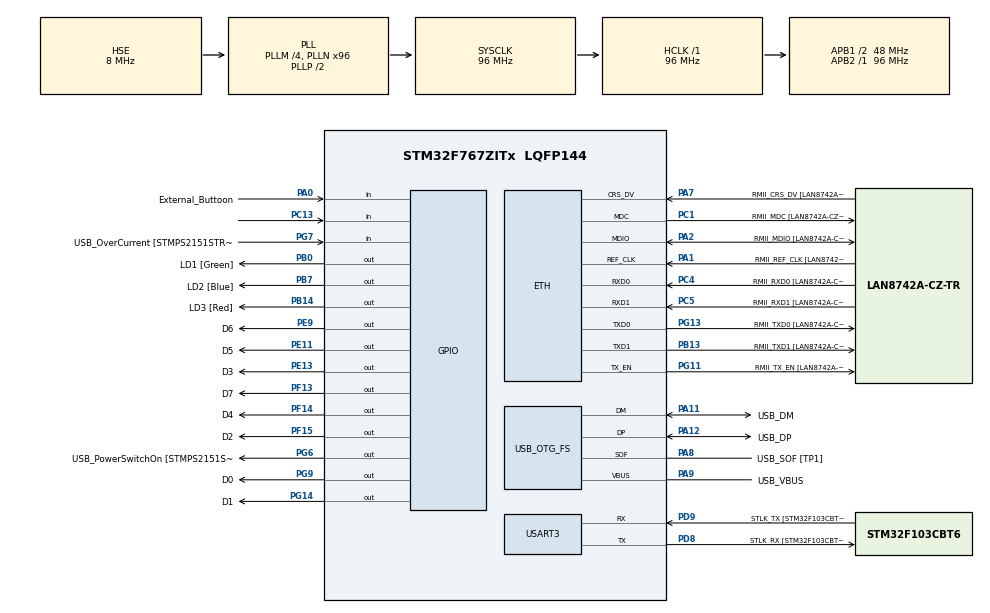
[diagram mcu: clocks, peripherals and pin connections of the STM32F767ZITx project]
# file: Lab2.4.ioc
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ETH.MediaInterface=HAL_ETH_RMII_MODE
ETH.PHY_Name=LAN8742A_PHY_ADDRESS
ETH.PHY_Value=0
ETH.PhyAddress=0
Mcu.Family=STM32F7
Mcu.Name=STM32F767ZITx
Mcu.Package=LQFP144
NVIC.PriorityGroup=NVIC_PRIORITYGROUP_4
PA0/WKUP.GPIO_Label=External_Buttoon
PA0/WKUP.GPIO_PuPd=GPIO_NOPULL
PA0/WKUP.Signal=GPIO_Input
PA1.GPIO_Label=RMII_REF_CLK [LAN8742A-CZ-TR_REFCLK0]
PA1.Mode=RMII
PA1.Signal=ETH_REF_CLK
PA10.GPIO_Label=USB_ID
PA10.Signal=USB_OTG_FS_ID
PA11.GPIO_Label=USB_DM
PA11.Mode=Device_Only
PA11.Signal=USB_OTG_FS_DM
PA12.GPIO_Label=USB_DP
PA12.Mode=Device_Only
PA12.Signal=USB_OTG_FS_DP
PA13.GPIO_Label=TMS
PA13.Mode=Serial_Wire
PA13.Signal=SYS_JTMS-SWDIO
PA14.GPIO_Label=TCK
PA14.Mode=Serial_Wire
PA14.Signal=SYS_JTCK-SWCLK
PA2.GPIO_Label=RMII_MDIO [LAN8742A-CZ-TR_MDIO]
PA2.Mode=RMII
PA2.Signal=ETH_MDIO
PA7.GPIO_Label=RMII_CRS_DV [LAN8742A-CZ-TR_CRS_DV]
PA7.Mode=RMII
PA7.Signal=ETH_CRS_DV
PA8.GPIO_Label=USB_SOF [TP1]
PA8.Mode=Activate_SOF_FS
PA8.Signal=USB_OTG_FS_SOF
PA9.GPIO_Label=USB_VBUS
PA9.Mode=Activate_VBUS
PA9.Signal=USB_OTG_FS_VBUS
PB0.GPIO_Label=LD1 [Green]
PB0.Signal=GPIO_Output
PB13.GPIO_Label=RMII_TXD1 [LAN8742A-CZ-TR_TXD1]
PB13.Mode=RMII
PB13.Signal=ETH_TXD1
PB14.GPIO_Label=LD3 [Red]
PB14.Signal=GPIO_Output
PB3.GPIO_Label=SWO
PB3.Signal=SYS_JTDO-SWO
PB7.GPIO_Label=LD2 [Blue]
PB7.Signal=GPIO_Output
PC1.GPIO_Label=RMII_MDC [LAN8742A-CZ-TR_MDC]
PC1.Mode=RMII
PC1.Signal=ETH_MDC
PC13.Signal=GPIO_Input
PC14/OSC32_IN.Mode=LSE-External-Oscillator
PC14/OSC32_IN.Signal=RCC_OSC32_IN
PC15/OSC32_OUT.Mode=LSE-External-Oscillator
PC15/OSC32_OUT.Signal=RCC_OSC32_OUT
PC4.GPIO_Label=RMII_RXD0 [LAN8742A-CZ-TR_RXD0]
PC4.Mode=RMII
PC4.Signal=ETH_RXD0
PC5.GPIO_Label=RMII_RXD1 [LAN8742A-CZ-TR_RXD1]
PC5.Mode=RMII
PC5.Signal=ETH_RXD1
PD8.GPIO_Label=STLK_RX [STM32F103CBT6_PA3]
PD8.Mode=Asynchronous
PD8.Signal=USART3_TX
PD9.GPIO_Label=STLK_TX [STM32F103CBT6_PA2]
PD9.Mode=Asynchronous
PD9.Signal=USART3_RX
PE11.GPIO_Label=D5
PE11.Signal=GPIO_Output
PE13.GPIO_Label=D3
PE13.Signal=GPIO_Output
PE9.GPIO_Label=D6
PE9.Signal=GPIO_Output
PF13.GPIO_Label=D7
PF13.Signal=GPIO_Output
PF14.GPIO_Label=D4
PF14.Signal=GPIO_Output
PF15.GPIO_Label=D2
PF15.Signal=GPIO_Output
PG11.GPIO_Label=RMII_TX_EN [LAN8742A-CZ-TR_TXEN]
PG11.Mode=RMII
PG11.Signal=ETH_TX_EN
PG13.GPIO_Label=RMII_TXD0 [LAN8742A-CZ-TR_TXD0]
PG13.Mode=RMII
PG13.Signal=ETH_TXD0
PG14.GPIO_Label=D1
PG14.Signal=GPIO_Output
PG6.GPIO_Label=USB_PowerSwitchOn [STMPS2151STR_EN]
PG6.Signal=GPIO_Output
PG7.GPIO_Label=USB_OverCurrent [STMPS2151STR_FAULT]
PG7.Signal=GPIO_Input
PG9.GPIO_Label=D0
PG9.Signal=GPIO_Output
PH0/OSC_IN.GPIO_Label=MCO [STM32F103CBT6_PA8]
PH0/OSC_IN.Mode=HSE-External-Clock-Source
PH0/OSC_IN.Signal=RCC_OSC_IN
PH1/OSC_OUT.Mode=HSE-External-Clock-Source
PH1/OSC_OUT.Signal=RCC_OSC_OUT
ProjectManager.HeapSize=0x200
ProjectManager.StackSize=0x400
ProjectManager.TargetToolchain=STM32CubeIDE
RCC.48MHZClocksFreq_Value=24000000
RCC.AHBFreq_Value=96000000
RCC.APB1CLKDivider=RCC_HCLK_DIV2
RCC.APB1Freq_Value=48000000
RCC.APB1TimFreq_Value=96000000
RCC.APB2Freq_Value=96000000
RCC.APB2TimFreq_Value=96000000
RCC.CortexFreq_Value=96000000
RCC.HCLKFreq_Value=96000000
RCC.HSE_VALUE=8000000
RCC.HSI_VALUE=16000000
RCC.PLLM=4
RCC.PLLMUL=RCC_PLL_MUL9
RCC.PLLN=96
RCC.PLLQ=4
RCC.PRESCALERUSB=RCC_USBCLKSOURCE_PLL_DIV1_5
RCC.SYSCLKFreq_VALUE=96000000
RCC.SYSCLKSource=RCC_SYSCLKSOURCE_PLLCLK
RCC.SYSCLKSourceVirtual=RCC_SYSCLKSOURCE_PLLCLK
RCC.USBFreq_Value=48000000
RCC.VCOOutputFreq_Value=192000000
USART3.VirtualMode-Asynchronous=VM_ASYNC
USB_OTG_FS.VirtualMode=Device_Only
board=NUCLEO-F767ZI

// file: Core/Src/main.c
/* USER CODE BEGIN Header */
/**
 ******************************************************************************
 * @file           : main.c
 * @brief          : Main program body
 ******************************************************************************
 * @attention
 *
 * Copyright (c) 2025 STMicroelectronics.
 * All rights reserved.
 *
 * This software is licensed under terms that can be found in the LICENSE file
 * in the root directory of this software component.
 * If no LICENSE file comes with this software, it is provided AS-IS.
 *
 ******************************************************************************
 */
/* USER CODE END Header */
#include "main.h"
#include "stm32f7xx_hal_gpio.h"
#include "string.h"
#include <stdint.h>

#if defined(__ICCARM__) /*!< IAR Compiler */
#pragma location = 0x2007c000
ETH_DMADescTypeDef
    DMARxDscrTab[ETH_RX_DESC_CNT]; /* Ethernet Rx DMA Descriptors */
#pragma location = 0x2007c0a0
ETH_DMADescTypeDef
    DMATxDscrTab[ETH_TX_DESC_CNT]; /* Ethernet Tx DMA Descriptors */

#elif defined(__CC_ARM) /* MDK ARM Compiler */

__attribute__((at(0x2007c000))) ETH_DMADescTypeDef
    DMARxDscrTab[ETH_RX_DESC_CNT]; /* Ethernet Rx DMA Descriptors */
__attribute__((at(0x2007c0a0))) ETH_DMADescTypeDef
    DMATxDscrTab[ETH_TX_DESC_CNT]; /* Ethernet Tx DMA Descriptors */

#elif defined(__GNUC__) /* GNU Compiler */

ETH_DMADescTypeDef DMARxDscrTab[ETH_RX_DESC_CNT] __attribute__((
    section(".RxDecripSection"))); /* Ethernet Rx DMA Descriptors */
ETH_DMADescTypeDef DMATxDscrTab[ETH_TX_DESC_CNT] __attribute__((
    section(".TxDecripSection"))); /* Ethernet Tx DMA Descriptors */
#endif

ETH_TxPacketConfig TxConfig;

ETH_HandleTypeDef heth;

UART_HandleTypeDef huart3;

PCD_HandleTypeDef hpcd_USB_OTG_FS;

/* USER CODE BEGIN PV */

unsigned int DEBOUNCE_TIME = 100;

typedef struct {
  GPIO_TypeDef *port;
  uint16_t pin;
} LED_Pin;

LED_Pin led_pins[8] = {{GPIOG, GPIO_PIN_9},  {GPIOG, GPIO_PIN_14},
                       {GPIOF, GPIO_PIN_15}, {GPIOE, GPIO_PIN_13},
                       {GPIOF, GPIO_PIN_14}, {GPIOE, GPIO_PIN_11},
                       {GPIOE, GPIO_PIN_9},  {GPIOF, GPIO_PIN_13}};

GPIO_PinState switchB1 = 0;
GPIO_PinState switchPa0 = 0;
GPIO_PinState switchB1previous = 0;
GPIO_PinState switchPa0previous = 0;
GPIO_PinState led = 0;
uint8_t ledStates = 0x00;

/* USER CODE END PV */

void SystemClock_Config(void);
static void MX_GPIO_Init(void);
static void MX_ETH_Init(void);
static void MX_USART3_UART_Init(void);
static void MX_USB_OTG_FS_PCD_Init(void);

/* USER CODE BEGIN 0 */

void writeLedState(void) {
  for (unsigned int i = 0; i < 8; i += 1) {
    GPIO_TypeDef *currentPort = led_pins[i].port;
    uint16_t currentPin = led_pins[i].pin;
    GPIO_PinState currentPinState = (ledStates >> i) & (0x01);

    HAL_GPIO_WritePin(currentPort, currentPin, currentPinState);
  }
}

void handleB1(void) {
  if (ledStates == 0x00 || ledStates == 0x80) {
    ledStates = 0x01;
  } else {
    ledStates = ledStates << 1;
  }
  writeLedState();
}

void handlePa0(void) {
  uint8_t oldStates = ledStates;

  if (ledStates == 0x00) {
    ledStates = 0x80;
  } else {
	  ledStates = ledStates >> 1;
  }

  writeLedState();
  HAL_Delay(300);

  while (ledStates != oldStates) {
    ledStates = ledStates >> 1;
    if (ledStates == 0x00 && oldStates != 0x00) {
      ledStates = 0x80;
    }

    writeLedState();
    HAL_Delay(300);
  }
}

/* USER CODE END 0 */

int main(void) {

  /* MCU Configuration--------------------------------------------------------*/

  /* Reset of all peripherals, Initializes the Flash interface and the Systick.
   */
  HAL_Init();

  /* Configure the system clock */
  SystemClock_Config();

  /* Initialize all configured peripherals */
  MX_GPIO_Init();
  MX_ETH_Init();
  MX_USART3_UART_Init();
  MX_USB_OTG_FS_PCD_Init();

  /* Infinite loop */
  while (1) {

    /* USER CODE BEGIN 3 */
    switchPa0 = !HAL_GPIO_ReadPin(GPIOA, GPIO_PIN_0);
    switchB1 = HAL_GPIO_ReadPin(GPIOC, GPIO_PIN_13);

    if (switchPa0 == GPIO_PIN_SET && switchPa0previous == GPIO_PIN_RESET) {
      HAL_Delay(DEBOUNCE_TIME);
      switchPa0 = !HAL_GPIO_ReadPin(GPIOA, GPIO_PIN_0);
      if (switchPa0 == GPIO_PIN_SET) {
        handlePa0();

        switchPa0previous = GPIO_PIN_SET;
      }
    } else if (switchPa0 == GPIO_PIN_RESET) {
      switchPa0previous = GPIO_PIN_RESET;
    }

    if (switchB1 == GPIO_PIN_SET && switchB1previous == GPIO_PIN_RESET) {
      HAL_Delay(DEBOUNCE_TIME);
      switchB1 = HAL_GPIO_ReadPin(GPIOC, GPIO_PIN_13);
      if (switchB1 == GPIO_PIN_SET) {
        handleB1();

        switchB1previous = GPIO_PIN_SET;
      }
    } else if (switchB1 == GPIO_PIN_RESET) {
      switchB1previous = GPIO_PIN_RESET;
    }
  }
  /* USER CODE END 3 */
}

void SystemClock_Config(void) {
  RCC_OscInitTypeDef RCC_OscInitStruct = {0};
  RCC_ClkInitTypeDef RCC_ClkInitStruct = {0};

  /** Configure LSE Drive Capability
   */
  HAL_PWR_EnableBkUpAccess();

  /** Configure the main internal regulator output voltage
   */
  __HAL_RCC_PWR_CLK_ENABLE();
  __HAL_PWR_VOLTAGESCALING_CONFIG(PWR_REGULATOR_VOLTAGE_SCALE3);

  /** Initializes the RCC Oscillators according to the specified parameters
   * in the RCC_OscInitTypeDef structure.
   */
  RCC_OscInitStruct.OscillatorType = RCC_OSCILLATORTYPE_HSE;
  RCC_OscInitStruct.HSEState = RCC_HSE_BYPASS;
  RCC_OscInitStruct.PLL.PLLState = RCC_PLL_ON;
  RCC_OscInitStruct.PLL.PLLSource = RCC_PLLSOURCE_HSE;
  RCC_OscInitStruct.PLL.PLLM = 4;
  RCC_OscInitStruct.PLL.PLLN = 96;
  RCC_OscInitStruct.PLL.PLLP = RCC_PLLP_DIV2;
  RCC_OscInitStruct.PLL.PLLQ = 4;
  RCC_OscInitStruct.PLL.PLLR = 2;
  if (HAL_RCC_OscConfig(&RCC_OscInitStruct) != HAL_OK) {
    Error_Handler();
  }

  /** Activate the Over-Drive mode
   */
  if (HAL_PWREx_EnableOverDrive() != HAL_OK) {
    Error_Handler();
  }

  /** Initializes the CPU, AHB and APB buses clocks
   */
  RCC_ClkInitStruct.ClockType = RCC_CLOCKTYPE_HCLK | RCC_CLOCKTYPE_SYSCLK |
                                RCC_CLOCKTYPE_PCLK1 | RCC_CLOCKTYPE_PCLK2;
  RCC_ClkInitStruct.SYSCLKSource = RCC_SYSCLKSOURCE_PLLCLK;
  RCC_ClkInitStruct.AHBCLKDivider = RCC_SYSCLK_DIV1;
  RCC_ClkInitStruct.APB1CLKDivider = RCC_HCLK_DIV2;
  RCC_ClkInitStruct.APB2CLKDivider = RCC_HCLK_DIV1;

  if (HAL_RCC_ClockConfig(&RCC_ClkInitStruct, FLASH_LATENCY_3) != HAL_OK) {
    Error_Handler();
  }
}

static void MX_ETH_Init(void) {

  static uint8_t MACAddr[6];

  heth.Instance = ETH;
  MACAddr[0] = 0x00;
  MACAddr[1] = 0x80;
  MACAddr[2] = 0xE1;
  MACAddr[3] = 0x00;
  MACAddr[4] = 0x00;
  MACAddr[5] = 0x00;
  heth.Init.MACAddr = &MACAddr[0];
  heth.Init.MediaInterface = HAL_ETH_RMII_MODE;
  heth.Init.TxDesc = DMATxDscrTab;
  heth.Init.RxDesc = DMARxDscrTab;
  heth.Init.RxBuffLen = 1524;

  if (HAL_ETH_Init(&heth) != HAL_OK) {
    Error_Handler();
  }

  memset(&TxConfig, 0, sizeof(ETH_TxPacketConfig));
  TxConfig.Attributes =
      ETH_TX_PACKETS_FEATURES_CSUM | ETH_TX_PACKETS_FEATURES_CRCPAD;
  TxConfig.ChecksumCtrl = ETH_CHECKSUM_IPHDR_PAYLOAD_INSERT_PHDR_CALC;
  TxConfig.CRCPadCtrl = ETH_CRC_PAD_INSERT;
}

static void MX_USART3_UART_Init(void) {

  huart3.Instance = USART3;
  huart3.Init.BaudRate = 115200;
  huart3.Init.WordLength = UART_WORDLENGTH_8B;
  huart3.Init.StopBits = UART_STOPBITS_1;
  huart3.Init.Parity = UART_PARITY_NONE;
  huart3.Init.Mode = UART_MODE_TX_RX;
  huart3.Init.HwFlowCtl = UART_HWCONTROL_NONE;
  huart3.Init.OverSampling = UART_OVERSAMPLING_16;
  huart3.Init.OneBitSampling = UART_ONE_BIT_SAMPLE_DISABLE;
  huart3.AdvancedInit.AdvFeatureInit = UART_ADVFEATURE_NO_INIT;
  if (HAL_UART_Init(&huart3) != HAL_OK) {
    Error_Handler();
  }
}

static void MX_USB_OTG_FS_PCD_Init(void) {

  hpcd_USB_OTG_FS.Instance = USB_OTG_FS;
  hpcd_USB_OTG_FS.Init.dev_endpoints = 6;
  hpcd_USB_OTG_FS.Init.speed = PCD_SPEED_FULL;
  hpcd_USB_OTG_FS.Init.dma_enable = DISABLE;
  hpcd_USB_OTG_FS.Init.phy_itface = PCD_PHY_EMBEDDED;
  hpcd_USB_OTG_FS.Init.Sof_enable = ENABLE;
  hpcd_USB_OTG_FS.Init.low_power_enable = DISABLE;
  hpcd_USB_OTG_FS.Init.lpm_enable = DISABLE;
  hpcd_USB_OTG_FS.Init.vbus_sensing_enable = ENABLE;
  hpcd_USB_OTG_FS.Init.use_dedicated_ep1 = DISABLE;
  if (HAL_PCD_Init(&hpcd_USB_OTG_FS) != HAL_OK) {
    Error_Handler();
  }
}

static void MX_GPIO_Init(void) {
  GPIO_InitTypeDef GPIO_InitStruct = {0};

  /* GPIO Ports Clock Enable */
  __HAL_RCC_GPIOC_CLK_ENABLE();
  __HAL_RCC_GPIOH_CLK_ENABLE();
  __HAL_RCC_GPIOA_CLK_ENABLE();
  __HAL_RCC_GPIOB_CLK_ENABLE();
  __HAL_RCC_GPIOF_CLK_ENABLE();
  __HAL_RCC_GPIOE_CLK_ENABLE();
  __HAL_RCC_GPIOD_CLK_ENABLE();
  __HAL_RCC_GPIOG_CLK_ENABLE();

  /*Configure GPIO pin Output Level */
  HAL_GPIO_WritePin(GPIOB, LD1_Pin | LD3_Pin | LD2_Pin, GPIO_PIN_RESET);

  /*Configure GPIO pin Output Level */
  HAL_GPIO_WritePin(GPIOF, D7_Pin | D4_Pin | D2_Pin, GPIO_PIN_RESET);

  /*Configure GPIO pin Output Level */
  HAL_GPIO_WritePin(GPIOE, D6_Pin | D5_Pin | D3_Pin, GPIO_PIN_RESET);

  /*Configure GPIO pin Output Level */
  HAL_GPIO_WritePin(GPIOG, USB_PowerSwitchOn_Pin | D0_Pin | D1_Pin,
                    GPIO_PIN_RESET);

  /*Configure GPIO pin : PC13 */
  GPIO_InitStruct.Pin = GPIO_PIN_13;
  GPIO_InitStruct.Mode = GPIO_MODE_INPUT;
  GPIO_InitStruct.Pull = GPIO_NOPULL;
  HAL_GPIO_Init(GPIOC, &GPIO_InitStruct);

  /*Configure GPIO pin : External_Buttoon_Pin */
  GPIO_InitStruct.Pin = External_Buttoon_Pin;
  GPIO_InitStruct.Mode = GPIO_MODE_INPUT;
  GPIO_InitStruct.Pull = GPIO_NOPULL;
  HAL_GPIO_Init(External_Buttoon_GPIO_Port, &GPIO_InitStruct);

  /*Configure GPIO pins : LD1_Pin LD3_Pin LD2_Pin */
  GPIO_InitStruct.Pin = LD1_Pin | LD3_Pin | LD2_Pin;
  GPIO_InitStruct.Mode = GPIO_MODE_OUTPUT_PP;
  GPIO_InitStruct.Pull = GPIO_NOPULL;
  GPIO_InitStruct.Speed = GPIO_SPEED_FREQ_LOW;
  HAL_GPIO_Init(GPIOB, &GPIO_InitStruct);

  /*Configure GPIO pins : D7_Pin D4_Pin D2_Pin */
  GPIO_InitStruct.Pin = D7_Pin | D4_Pin | D2_Pin;
  GPIO_InitStruct.Mode = GPIO_MODE_OUTPUT_PP;
  GPIO_InitStruct.Pull = GPIO_NOPULL;
  GPIO_InitStruct.Speed = GPIO_SPEED_FREQ_LOW;
  HAL_GPIO_Init(GPIOF, &GPIO_InitStruct);

  /*Configure GPIO pins : D6_Pin D5_Pin D3_Pin */
  GPIO_InitStruct.Pin = D6_Pin | D5_Pin | D3_Pin;
  GPIO_InitStruct.Mode = GPIO_MODE_OUTPUT_PP;
  GPIO_InitStruct.Pull = GPIO_NOPULL;
  GPIO_InitStruct.Speed = GPIO_SPEED_FREQ_LOW;
  HAL_GPIO_Init(GPIOE, &GPIO_InitStruct);

  /*Configure GPIO pins : USB_PowerSwitchOn_Pin D0_Pin D1_Pin */
  GPIO_InitStruct.Pin = USB_PowerSwitchOn_Pin | D0_Pin | D1_Pin;
  GPIO_InitStruct.Mode = GPIO_MODE_OUTPUT_PP;
  GPIO_InitStruct.Pull = GPIO_NOPULL;
  GPIO_InitStruct.Speed = GPIO_SPEED_FREQ_LOW;
  HAL_GPIO_Init(GPIOG, &GPIO_InitStruct);

  /*Configure GPIO pin : USB_OverCurrent_Pin */
  GPIO_InitStruct.Pin = USB_OverCurrent_Pin;
  GPIO_InitStruct.Mode = GPIO_MODE_INPUT;
  GPIO_InitStruct.Pull = GPIO_NOPULL;
  HAL_GPIO_Init(USB_OverCurrent_GPIO_Port, &GPIO_InitStruct);

}

void Error_Handler(void) {
  __disable_irq();
  while (1) {
  }
}
#ifdef USE_FULL_ASSERT
/**
 * @brief  Reports the name of the source file and the source line number
 *         where the assert_param error has occurred.
 * @param  file: pointer to the source file name
 * @param  line: assert_param error line source number
 * @retval None
 */
void assert_failed(uint8_t *file, uint32_t line) {
  /* USER CODE BEGIN 6 */
  /* User can add his own implementation to report the file name and line
     number, ex: printf("Wrong parameters value: file %s on line %d\r\n", file,
     line) */
  /* USER CODE END 6 */
}
#endif /* USE_FULL_ASSERT */
